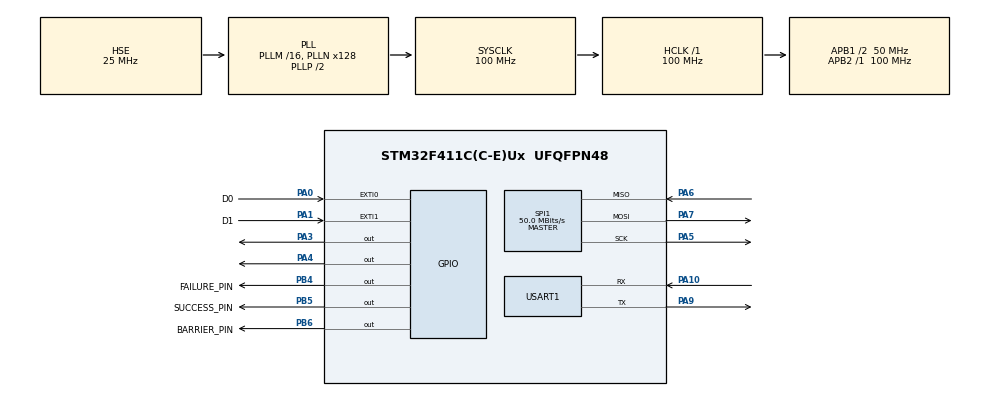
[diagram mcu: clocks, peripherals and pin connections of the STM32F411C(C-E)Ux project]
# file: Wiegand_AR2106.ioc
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Mcu.Family=STM32F4
Mcu.Name=STM32F411C(C-E)Ux
Mcu.Package=UFQFPN48
NVIC.EXTI0_IRQn=true\:0\:0\:false\:false\:true\:true\:true\:true
NVIC.EXTI1_IRQn=true\:0\:0\:false\:false\:true\:true\:true\:true
NVIC.PriorityGroup=NVIC_PRIORITYGROUP_4
PA0-WKUP.GPIO_Label=D0
PA0-WKUP.GPIO_ModeDefaultEXTI=GPIO_MODE_IT_FALLING
PA0-WKUP.GPIO_PuPd=GPIO_PULLUP
PA0-WKUP.Signal=GPXTI0
PA1.GPIO_Label=D1
PA1.GPIO_ModeDefaultEXTI=GPIO_MODE_IT_FALLING
PA1.GPIO_PuPd=GPIO_PULLUP
PA1.Signal=GPXTI1
PA10.Mode=Asynchronous
PA10.Signal=USART1_RX
PA13.Mode=Serial_Wire
PA13.Signal=SYS_JTMS-SWDIO
PA14.Mode=Serial_Wire
PA14.Signal=SYS_JTCK-SWCLK
PA3.Signal=GPIO_Output
PA4.Signal=GPIO_Output
PA5.Mode=Full_Duplex_Master
PA5.Signal=SPI1_SCK
PA6.Mode=Full_Duplex_Master
PA6.Signal=SPI1_MISO
PA7.Mode=Full_Duplex_Master
PA7.Signal=SPI1_MOSI
PA9.Mode=Asynchronous
PA9.Signal=USART1_TX
PB4.GPIO_Label=FAILURE_PIN
PB4.Signal=GPIO_Output
PB5.GPIO_Label=SUCCESS_PIN
PB5.Signal=GPIO_Output
PB6.GPIO_Label=BARRIER_PIN
PB6.Signal=GPIO_Output
PH0\ -\ OSC_IN.Mode=HSE-External-Oscillator
PH0\ -\ OSC_IN.Signal=RCC_OSC_IN
PH1\ -\ OSC_OUT.Mode=HSE-External-Oscillator
PH1\ -\ OSC_OUT.Signal=RCC_OSC_OUT
ProjectManager.HeapSize=0x200
ProjectManager.StackSize=0x400
ProjectManager.TargetToolchain=CMake
RCC.48MHZClocksFreq_Value=50000000
RCC.AHBFreq_Value=100000000
RCC.APB1CLKDivider=RCC_HCLK_DIV2
RCC.APB1Freq_Value=50000000
RCC.APB1TimFreq_Value=100000000
RCC.APB2Freq_Value=100000000
RCC.APB2TimFreq_Value=100000000
RCC.CortexFreq_Value=100000000
RCC.HCLKFreq_Value=100000000
RCC.HSE_VALUE=25000000
RCC.HSI_VALUE=16000000
RCC.LSE_VALUE=32768
RCC.PLLN=128
RCC.PLLSourceVirtual=RCC_PLLSOURCE_HSE
RCC.SYSCLKFreq_VALUE=100000000
RCC.SYSCLKSource=RCC_SYSCLKSOURCE_PLLCLK
RCC.VCOOutputFreq_Value=200000000
SPI1.CalculateBaudRate=50.0 MBits/s
SPI1.Direction=SPI_DIRECTION_2LINES
SPI1.Mode=SPI_MODE_MASTER
SPI1.VirtualType=VM_MASTER
USART1.VirtualMode=VM_ASYNC
board=custom

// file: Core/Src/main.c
/* USER CODE BEGIN Header */
/**
  ******************************************************************************
  * @file           : main.c
  * @brief          : Main program body
  ******************************************************************************
  * @attention
  *
  * Copyright (c) 2026 STMicroelectronics.
  * All rights reserved.
  *
  * This software is licensed under terms that can be found in the LICENSE file
  * in the root directory of this software component.
  * If no LICENSE file comes with this software, it is provided AS-IS.
  *
  ******************************************************************************
  */
/* USER CODE END Header */
#include "main.h"

/* USER CODE BEGIN Includes */
#include <stdio.h>
#include <string.h>
#include "stm32f4xx_hal_gpio.h"
#include "wiegand.h"
#include <json_builder.h>
#include <ethernet_manager.h>
#include "remote_server.h"

/* USER CODE END Includes */

/* USER CODE BEGIN PD */
/* Server address: IP literal (e.g. "192.168.0.176") or hostname (e.g. "api.example.com").
 * If a hostname is provided, DNS resolution is performed automatically. */
// #define SERVER_ADDR     "192.168.0.102"
//#define THINGS_BOARD_ADDR "http://iot.interswitch.com"
#define SERVER_ADDR "aci-demo.onrender.com"  /* hostname only: no scheme, used for DNS, Host header, and TLS SNI */
// #define THINGS_BOARD_ADDR "thingsboard.cloud"
//#define THINGS_BOARD_PORT 8080U
//#define THINGS_BOARD_PORT 80U
#define SERVER_PORT     443U    /* Render exposes standard HTTPS port publicly; internal $PORT is irrelevant to clients */
#define SERVER_PROTOCOL REMOTE_SERVER_PROTO_HTTPS  /* REMOTE_SERVER_PROTO_HTTP or REMOTE_SERVER_PROTO_HTTPS */
//#define SERVER_PROTOCOL REMOTE_SERVER_PROTO_HTTP  /* REMOTE_SERVER_PROTO_HTTP or REMOTE_SERVER_PROTO_HTTPS */

/* USER CODE END PD */

SPI_HandleTypeDef hspi1;

UART_HandleTypeDef huart1;

void SystemClock_Config(void);
static void MX_GPIO_Init(void);
static void MX_USART1_UART_Init(void);
static void MX_SPI1_Init(void);

/* USER CODE BEGIN 0 */
int __io_putchar(int ch) {
    HAL_UART_Transmit(&huart1, (uint8_t*)&ch, 1, HAL_MAX_DELAY);
    return ch;
}

static void grant_access(void)
{
    /* 1. Trigger success LED + Barrier */
    HAL_GPIO_WritePin(SUCCESS_PIN_GPIO_Port, SUCCESS_PIN_Pin, GPIO_PIN_SET);
    HAL_GPIO_WritePin(BARRIER_PIN_GPIO_Port, BARRIER_PIN_Pin, GPIO_PIN_SET);
    printf("\r\n[Access Granted] - Barrier triggered\r\n");
    HAL_Delay(5000);
    HAL_GPIO_WritePin(SUCCESS_PIN_GPIO_Port, SUCCESS_PIN_Pin, GPIO_PIN_RESET);
    HAL_GPIO_WritePin(BARRIER_PIN_GPIO_Port, BARRIER_PIN_Pin, GPIO_PIN_RESET);
}

static void deny_access(){
// turn on red LED here
  HAL_GPIO_WritePin(FAILURE_PIN_GPIO_Port, FAILURE_PIN_Pin, GPIO_PIN_SET);
  printf("\r\n[Access Denied]\r\n");
  HAL_Delay(5000);
  HAL_GPIO_WritePin(FAILURE_PIN_GPIO_Port, FAILURE_PIN_Pin, GPIO_PIN_RESET);
}
/* USER CODE END 0 */

int main(void)
{

  /* MCU Configuration--------------------------------------------------------*/

  /* Reset of all peripherals, Initializes the Flash interface and the Systick. */
  HAL_Init();

  /* Configure the system clock */
  SystemClock_Config();

  /* Initialize all configured peripherals */
  MX_GPIO_Init();
  MX_USART1_UART_Init();
  MX_SPI1_Init();
  /* USER CODE BEGIN 2 */
    Wiegand_Init();
    HAL_Delay(3000); // Wait for Ethernet module to initialize
    ethernet_init();
    ethernet_connect();
  char pin[8] = ""; /* Buffer to hold the collected PIN */
  char json_buffer[256];
  char response_buffer[512];
  int auth_bytes_read;
  /* USER CODE END 2 */

  /* Infinite loop */
  /* USER CODE BEGIN WHILE */

while (1)
{
    int access_result = 0;
    int json_len = 0;               /* will hold length of JSON payload */
    WiegandKeyError wiegand_err;

    /* Clear any PIN left over from a previous (possibly shorter) attempt
     * before collecting a new one. */
    memset(pin, 0, sizeof(pin));

    /* Keep reading until a full, valid PIN is captured - a malformed read
     * (bad framing, incomplete entry, etc.) should be retried, not treated
     * as an access denial. */
    do {
        wiegand_err = collect_wiegand_keypress(pin, sizeof(pin));
        if (wiegand_err != WIEGAND_OK) {
            printf("error collecting pin: error code: %d\n", (int)wiegand_err);
            memset(pin, 0, sizeof(pin));
        }
    } while (wiegand_err != WIEGAND_OK);

    pin[DIGITS_REQUIRED] = '\0';
    printf("Collected PIN: %s\r\n", pin);

    do {
        json_len = build_json_from_pin(json_buffer, sizeof(json_buffer), pin, sizeof(pin));
        if (json_len < 0) {
            printf("could not create json payload\n");
            break;
        }
        printf("json payload: %s\n", json_buffer);

        /* ---------- Authenticate only ---------- */
        RemoteServerError auth_err = remote_server_authenticate(
            SERVER_PROTOCOL,
            SERVER_ADDR,
            SERVER_PORT,
            json_buffer, (size_t)json_len,
            response_buffer, sizeof(response_buffer),
            &auth_bytes_read);

        if (auth_err != REMOTE_SERVER_OK) {
            printf("authentication request failed: error code %d\n", (int)auth_err);
            break;
        }

        printf("server response (%d bytes): %s\n", auth_bytes_read, response_buffer);

        RemoteServerAuthResult auth_result = remote_server_parse_auth_response(
            response_buffer, (size_t)auth_bytes_read);

        if (auth_result != REMOTE_SERVER_AUTH_OK) {
            printf("authentication failed\n");
            break;
        }

        printf("authentication successful\n");
        access_result = 1;

    } while (0);

    if (access_result) {
      /* /guest/validate marks the one-time guest PIN used before returning 200. */
      grant_access();
      } else {
        deny_access();
    }
}
HAL_Delay(3000); /* Delay for 5 seconds before the next iteration */
    // /* USER CODE BEGIN 3 */

   /* USER CODE END WHILE */
  /* USER CODE END 3 */
}

void SystemClock_Config(void)
{
  RCC_OscInitTypeDef RCC_OscInitStruct = {0};
  RCC_ClkInitTypeDef RCC_ClkInitStruct = {0};

  /** Configure the main internal regulator output voltage
  */
  __HAL_RCC_PWR_CLK_ENABLE();
  __HAL_PWR_VOLTAGESCALING_CONFIG(PWR_REGULATOR_VOLTAGE_SCALE1);

  /** Initializes the RCC Oscillators according to the specified parameters
  * in the RCC_OscInitTypeDef structure.
  */
  RCC_OscInitStruct.OscillatorType = RCC_OSCILLATORTYPE_HSE;
  RCC_OscInitStruct.HSEState = RCC_HSE_ON;
  RCC_OscInitStruct.PLL.PLLState = RCC_PLL_ON;
  RCC_OscInitStruct.PLL.PLLSource = RCC_PLLSOURCE_HSE;
  RCC_OscInitStruct.PLL.PLLM = 16;
  RCC_OscInitStruct.PLL.PLLN = 128;
  RCC_OscInitStruct.PLL.PLLP = RCC_PLLP_DIV2;
  RCC_OscInitStruct.PLL.PLLQ = 4;
  if (HAL_RCC_OscConfig(&RCC_OscInitStruct) != HAL_OK)
  {
    Error_Handler();
  }

  /** Initializes the CPU, AHB and APB buses clocks
  */
  RCC_ClkInitStruct.ClockType = RCC_CLOCKTYPE_HCLK|RCC_CLOCKTYPE_SYSCLK
                              |RCC_CLOCKTYPE_PCLK1|RCC_CLOCKTYPE_PCLK2;
  RCC_ClkInitStruct.SYSCLKSource = RCC_SYSCLKSOURCE_PLLCLK;
  RCC_ClkInitStruct.AHBCLKDivider = RCC_SYSCLK_DIV1;
  RCC_ClkInitStruct.APB1CLKDivider = RCC_HCLK_DIV2;
  RCC_ClkInitStruct.APB2CLKDivider = RCC_HCLK_DIV1;

  if (HAL_RCC_ClockConfig(&RCC_ClkInitStruct, FLASH_LATENCY_3) != HAL_OK)
  {
    Error_Handler();
  }
}

static void MX_SPI1_Init(void)
{

  /* SPI1 parameter configuration*/
  hspi1.Instance = SPI1;
  hspi1.Init.Mode = SPI_MODE_MASTER;
  hspi1.Init.Direction = SPI_DIRECTION_2LINES;
  hspi1.Init.DataSize = SPI_DATASIZE_8BIT;
  hspi1.Init.CLKPolarity = SPI_POLARITY_LOW;
  hspi1.Init.CLKPhase = SPI_PHASE_1EDGE;
  hspi1.Init.NSS = SPI_NSS_SOFT;
  hspi1.Init.BaudRatePrescaler = SPI_BAUDRATEPRESCALER_8;
  hspi1.Init.FirstBit = SPI_FIRSTBIT_MSB;
  hspi1.Init.TIMode = SPI_TIMODE_DISABLE;
  hspi1.Init.CRCCalculation = SPI_CRCCALCULATION_DISABLE;
  hspi1.Init.CRCPolynomial = 10;
  if (HAL_SPI_Init(&hspi1) != HAL_OK)
  {
    Error_Handler();
  }
  /* USER CODE BEGIN SPI1_Init 2 */
  __HAL_SPI_ENABLE(&hspi1);
  /* USER CODE END SPI1_Init 2 */

}

static void MX_USART1_UART_Init(void)
{

  huart1.Instance = USART1;
  huart1.Init.BaudRate = 115200;
  huart1.Init.WordLength = UART_WORDLENGTH_8B;
  huart1.Init.StopBits = UART_STOPBITS_1;
  huart1.Init.Parity = UART_PARITY_NONE;
  huart1.Init.Mode = UART_MODE_TX_RX;
  huart1.Init.HwFlowCtl = UART_HWCONTROL_NONE;
  huart1.Init.OverSampling = UART_OVERSAMPLING_16;
  if (HAL_UART_Init(&huart1) != HAL_OK)
  {
    Error_Handler();
  }
  /* USER CODE BEGIN USART1_Init 2 */
  __HAL_UART_ENABLE(&huart1);
  /* USER CODE END USART1_Init 2 */

}

static void MX_GPIO_Init(void)
{
  GPIO_InitTypeDef GPIO_InitStruct = {0};

  /* GPIO Ports Clock Enable */
  __HAL_RCC_GPIOH_CLK_ENABLE();
  __HAL_RCC_GPIOA_CLK_ENABLE();
  __HAL_RCC_GPIOB_CLK_ENABLE();

  /*Configure GPIO pin Output Level */
  HAL_GPIO_WritePin(GPIOA, GPIO_PIN_3|GPIO_PIN_4, GPIO_PIN_RESET);

  /*Configure GPIO pin Output Level */
  HAL_GPIO_WritePin(GPIOB, FAILURE_PIN_Pin|SUCCESS_PIN_Pin|BARRIER_PIN_Pin, GPIO_PIN_RESET);

  /*Configure GPIO pins : D0_Pin D1_Pin */
  GPIO_InitStruct.Pin = D0_Pin|D1_Pin;
  GPIO_InitStruct.Mode = GPIO_MODE_IT_FALLING;
  GPIO_InitStruct.Pull = GPIO_PULLUP;
  HAL_GPIO_Init(GPIOA, &GPIO_InitStruct);

  /*Configure GPIO pins : PA3 PA4 */
  GPIO_InitStruct.Pin = GPIO_PIN_3|GPIO_PIN_4;
  GPIO_InitStruct.Mode = GPIO_MODE_OUTPUT_PP;
  GPIO_InitStruct.Pull = GPIO_NOPULL;
  GPIO_InitStruct.Speed = GPIO_SPEED_FREQ_LOW;
  HAL_GPIO_Init(GPIOA, &GPIO_InitStruct);

  /*Configure GPIO pins : PA3 PA4 */
  GPIO_InitStruct.Pin = GPIO_PIN_4|GPIO_PIN_5|GPIO_PIN_6;
  GPIO_InitStruct.Mode = GPIO_MODE_OUTPUT_PP;
  GPIO_InitStruct.Pull = GPIO_NOPULL;
  GPIO_InitStruct.Speed = GPIO_SPEED_FREQ_LOW;
  HAL_GPIO_Init(GPIOB, &GPIO_InitStruct);

  /* EXTI interrupt init*/
  HAL_NVIC_SetPriority(EXTI0_IRQn, 0, 0);
  HAL_NVIC_EnableIRQ(EXTI0_IRQn);

  HAL_NVIC_SetPriority(EXTI1_IRQn, 0, 0);
  HAL_NVIC_EnableIRQ(EXTI1_IRQn);

}

void Error_Handler(void)
{
  __disable_irq();
  while (1)
  {
  }
}
